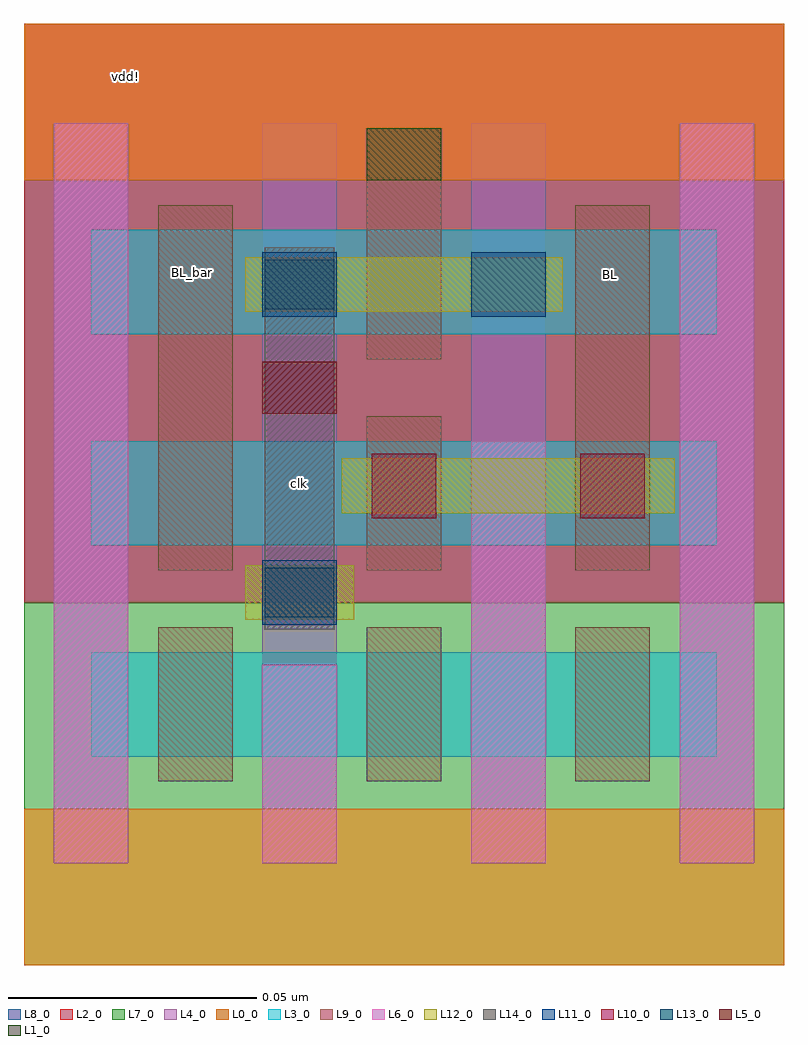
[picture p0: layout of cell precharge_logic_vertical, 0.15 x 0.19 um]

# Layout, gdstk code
import gdstk
lib = gdstk.Library(unit=1e-6, precision=5e-10)
def R(c, l, rs):  # rectangles x0, y0, x1, y1
    for r in rs: c.add(gdstk.rectangle(r[:2], r[2:], *l))
def A(c, l, x, y, w, h, nx, ny, dx, dy):  # array of equal rectangles
    R(c, l, [(x+i*dx, y+j*dy, x+i*dx+w, y+j*dy+h) for i in range(nx) for j in range(ny)])
L0_0 = (0, 0)
L1_0 = (1, 0)
L2_0 = (2, 0)
L3_0 = (3, 0)
L4_0 = (4, 0)
L5_0 = (5, 0)
L6_0 = (6, 0)
L7_0 = (7, 0)
L8_0 = (8, 0)
L9_0 = (9, 0)
L10_0 = (10, 0)
L11_0 = (11, 0)
L12_0 = (12, 0)
L13_0 = (13, 0)
L14_0 = (14, 0)

pmos = lib.new_cell('pmos')
R(pmos, L2_0, [(-0.042,-0.0205,0.042,0.0205)])
R(pmos, L3_0, [(-0.042,-0.0105,0.042,0.0105)])
A(pmos, L4_0, -0.0495, -0.032, 0.015, 0.064, 3, 1, 0.042, 0)
R(pmos, L8_0, [(-0.0555,-0.0205,0.0555,0.0205)])
R(pmos, L9_0, [(-0.0285,-0.0155,-0.0135,0.0155), (0.0135,-0.0155,0.0285,0.0155)])

nmos = lib.new_cell('nmos')
R(nmos, L3_0, [(-0.042,-0.0105,0.042,0.0105)])
A(nmos, L4_0, -0.0495, -0.032, 0.015, 0.064, 3, 1, 0.042, 0)
R(nmos, L7_0, [(-0.0555,-0.021,0.0555,0.0205)])
R(nmos, L9_0, [(-0.0285,-0.0155,-0.0135,0.0155), (0.0135,-0.0155,0.0285,0.0155)])

bpr_m0a = lib.new_cell('BPR_M0A')
R(bpr_m0a, L0_0, [(-0.021,-0.0055,0.021,0.026)])
R(bpr_m0a, L1_0, [(-0.0075,-0.0055,0.0075,0.005)])
R(bpr_m0a, L9_0, [(-0.0075,-0.0165,0.0075,0.005)])

m0a_m0b = lib.new_cell('M0A_M0B')
R(m0a_m0b, L9_0, [(-0.0075,-0.0055,0.0075,0.0055)])
R(m0a_m0b, L10_0, [(-0.0065,-0.0065,0.0065,0.0065)])
R(m0a_m0b, L12_0, [(-0.0125,-0.0055,0.0125,0.0055)])

gate_m0b = lib.new_cell('GATE_M0B')
R(gate_m0b, L4_0, [(-0.0075,-0.0115,0.0075,0.0115)])
R(gate_m0b, L11_0, [(-0.0075,-0.0065,0.0075,0.0065)])
R(gate_m0b, L12_0, [(-0.011,-0.0055,0.011,0.0055)])

m0b_m1 = lib.new_cell('M0B_M1')
R(m0b_m1, L12_0, [(-0.011,-0.005,0.011,0.005)])
R(m0b_m1, L13_0, [(-0.007,-0.005,0.007,0.005)])
R(m0b_m1, L14_0, [(-0.007,-0.0075,0.007,0.0075)])

precharge_logic_vertical = lib.new_cell('precharge_logic_vertical')
R(precharge_logic_vertical, L0_0, [(0,0,0.153,0.0315), (0,0.158,0.153,0.1895), (0.009,0.1735,0.032,0.185)])
R(precharge_logic_vertical, L2_0, [(0,0.073,0.153,0.1895)])
R(precharge_logic_vertical, L4_0, [(0.0495,0.0905,0.0615,0.1035)])
R(precharge_logic_vertical, L5_0, [(0.048,0.111,0.063,0.1215)])
R(precharge_logic_vertical, L6_0, [(0.006,0.0205,0.021,0.1695), (0.048,0.0205,0.063,0.0605), (0.09,0.0205,0.105,0.1055), (0.132,0.0205,0.147,0.1695)])
R(precharge_logic_vertical, L7_0, [(0,0,0.153,0.073)])
R(precharge_logic_vertical, L8_0, [(0,0.073,0.153,0.1895)])
R(precharge_logic_vertical, L9_0, [(0.027,0.0795,0.042,0.153), (0.111,0.0795,0.126,0.153), (0.1115,0.1325,0.125,0.1455), (0.0275,0.134,0.041,0.145)])
R(precharge_logic_vertical, L12_0, [(0.064,0.091,0.131,0.102), (0.0445,0.1315,0.1085,0.1425)])
R(precharge_logic_vertical, L14_0, [(0.0485,0.0675,0.0625,0.1445)])
precharge_logic_vertical.add(gdstk.Reference(pmos, (0.0975,0.1375)))
precharge_logic_vertical.add(gdstk.Reference(pmos, (0.0975,0.095)))
precharge_logic_vertical.add(gdstk.Reference(pmos, (0.0555,0.095)))
precharge_logic_vertical.add(gdstk.Reference(pmos, (0.0555,0.1375)))
precharge_logic_vertical.add(gdstk.Reference(nmos, (0.0975,0.0525)))
precharge_logic_vertical.add(gdstk.Reference(nmos, (0.0555,0.0525)))
precharge_logic_vertical.add(gdstk.Reference(bpr_m0a, (0.0765,0.1635)))
precharge_logic_vertical.add(gdstk.Reference(m0a_m0b, (0.1185,0.0965)))
precharge_logic_vertical.add(gdstk.Reference(m0a_m0b, (0.0765,0.0965)))
precharge_logic_vertical.add(gdstk.Reference(gate_m0b, (0.0555,0.075)))
precharge_logic_vertical.add(gdstk.Reference(gate_m0b, (0.0975,0.137)))
precharge_logic_vertical.add(gdstk.Reference(gate_m0b, (0.0555,0.137)))
precharge_logic_vertical.add(gdstk.Reference(m0b_m1, (0.0555,0.137)))
precharge_logic_vertical.add(gdstk.Reference(m0b_m1, (0.0555,0.075)))
precharge_logic_vertical.add(gdstk.Label('vdd!', (0.0205,0.179), layer=0, texttype=0))
precharge_logic_vertical.add(gdstk.Label('clk', (0.0555,0.097), layer=4, texttype=0))
precharge_logic_vertical.add(gdstk.Label('BL', (0.118,0.139), layer=9, texttype=0))
precharge_logic_vertical.add(gdstk.Label('BL_bar', (0.034,0.1395), layer=9, texttype=0))

lib.write_gds('precharge_logic_vertical.gds')
